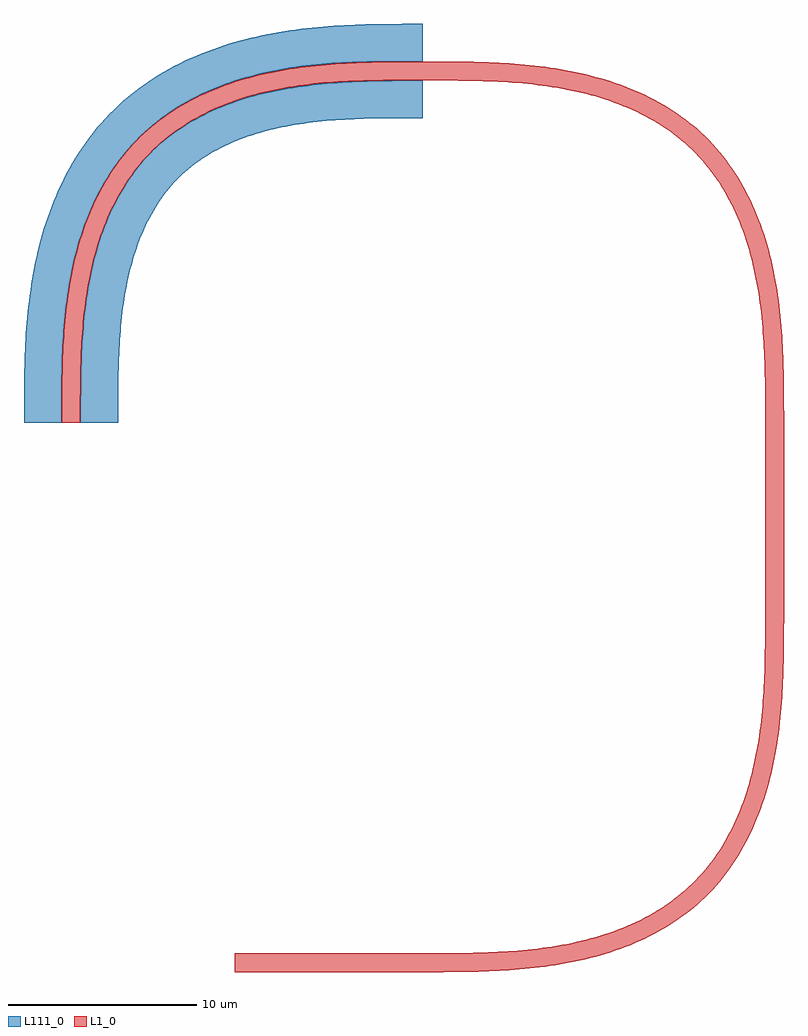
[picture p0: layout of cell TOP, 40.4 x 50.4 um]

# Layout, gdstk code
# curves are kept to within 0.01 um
from math import pi, radians
import gdstk
lib = gdstk.Library(unit=1e-6, precision=1e-09)
def R(c, l, rs):  # rectangles x0, y0, x1, y1
    for r in rs: c.add(gdstk.rectangle(r[:2], r[2:], *l))
def P(c, l, *ps):  # polygons
    for p in ps: c.add(gdstk.Polygon(p, *l))
L1_0 = (1, 0)
L111_0 = (111, 0)

doe1_convert_base_conver = lib.new_cell('DOE1_CONVERT.BASE_CONVERT.straight_W1000_L10000_LWG_ENone')
R(doe1_convert_base_conver, L1_0, [(0,-0.5,10,0.5)])

doe1_convert_bend_euler_ = lib.new_cell('DOE1_CONVERT.bend_euler_W1_R10_LWG_ENone_A90_R150')
P(doe1_convert_bend_euler_, L1_0, [(0,-0.5),(0,0.5),(1.607,0.504),(3.205,0.535),(4.53,0.6),(5.845,0.715),(6.887,0.854),(7.918,1.042),(8.682,1.219),(9.683,1.509),(10.417,1.769),(11.134,2.068),(11.601,2.29),(12.281,2.658),(12.933,3.07),(13.35,3.368),(13.947,3.852),(14.322,4.199),(14.849,4.754),(15.176,5.148),(15.484,5.557),(15.91,6.2),(16.17,6.644),(16.524,7.332),(16.837,8.043),(17.11,8.772),(17.415,9.767),(17.659,10.782),(17.847,11.814),(17.986,12.856),(18.101,14.171),(18.166,15.496),(18.197,17.094),(18.201,18.701),(19.201,18.701),(19.194,16.816),(19.165,15.463),(19.116,14.377),(19.035,13.289),(18.913,12.202),(18.79,11.388),(18.579,10.308),(18.38,9.504),(18.143,8.709),(17.866,7.925),(17.544,7.155),(17.177,6.404),(16.762,5.676),(16.298,4.976),(15.784,4.309),(15.219,3.681),(14.606,3.1),(13.951,2.569),(13.262,2.088),(12.542,1.657),(11.798,1.274),(11.034,0.937),(10.255,0.646),(9.197,0.321),(8.393,0.122),(7.313,-0.09),(6.227,-0.247),(5.412,-0.334),(4.324,-0.415),(3.238,-0.464),(1.885,-0.493)])

doe1_convert_doe1 = lib.new_cell('DOE1_CONVERT.DOE1')
doe1_convert_doe1.add(gdstk.Reference(doe1_convert_base_conver, (0,0)))
doe1_convert_doe1.add(gdstk.Reference(doe1_convert_bend_euler_, (10,0)))

doe2_convert_base_conver = lib.new_cell('DOE2_CONVERT.BASE_CONVERT.straight_W1000_L10000_LWG_ENone')
R(doe2_convert_base_conver, L1_0, [(0,-0.5,10,0.5)])

doe2_convert_bend_euler_ = lib.new_cell('DOE2_CONVERT.bend_euler_W1_R10_LWG_ENone_A90_R150')
P(doe2_convert_bend_euler_, L1_0, [(0,-0.5),(0,0.5),(1.607,0.504),(3.205,0.535),(4.53,0.6),(5.845,0.715),(6.887,0.854),(7.918,1.042),(8.682,1.219),(9.683,1.509),(10.417,1.769),(11.134,2.068),(11.601,2.29),(12.281,2.658),(12.933,3.07),(13.35,3.368),(13.947,3.852),(14.322,4.199),(14.849,4.754),(15.176,5.148),(15.484,5.557),(15.91,6.2),(16.17,6.644),(16.524,7.332),(16.837,8.043),(17.11,8.772),(17.415,9.767),(17.659,10.782),(17.847,11.814),(17.986,12.856),(18.101,14.171),(18.166,15.496),(18.197,17.094),(18.201,18.701),(19.201,18.701),(19.194,16.816),(19.165,15.463),(19.116,14.377),(19.035,13.289),(18.913,12.202),(18.79,11.388),(18.579,10.308),(18.38,9.504),(18.143,8.709),(17.866,7.925),(17.544,7.155),(17.177,6.404),(16.762,5.676),(16.298,4.976),(15.784,4.309),(15.219,3.681),(14.606,3.1),(13.951,2.569),(13.262,2.088),(12.542,1.657),(11.798,1.274),(11.034,0.937),(10.255,0.646),(9.197,0.321),(8.393,0.122),(7.313,-0.09),(6.227,-0.247),(5.412,-0.334),(4.324,-0.415),(3.238,-0.464),(1.885,-0.493)])

c_doe2_convert_bend_euler_ = lib.new_cell('DOE2_CONVERT.bend_euler_W1_R10_LWG_Eenc2_A90_R150')
P(c_doe2_convert_bend_euler_, L1_0, [(0,-0.5),(0,0.5),(1.607,0.504),(3.205,0.535),(4.53,0.6),(5.845,0.715),(6.887,0.854),(7.918,1.042),(8.682,1.219),(9.683,1.509),(10.417,1.769),(11.134,2.068),(11.601,2.29),(12.281,2.658),(12.933,3.07),(13.35,3.368),(13.947,3.852),(14.322,4.199),(14.849,4.754),(15.176,5.148),(15.484,5.557),(15.91,6.2),(16.17,6.644),(16.524,7.332),(16.837,8.043),(17.11,8.772),(17.415,9.767),(17.659,10.782),(17.847,11.814),(17.986,12.856),(18.101,14.171),(18.166,15.496),(18.197,17.094),(18.201,18.701),(19.201,18.701),(19.194,16.816),(19.165,15.463),(19.116,14.377),(19.035,13.289),(18.913,12.202),(18.79,11.388),(18.579,10.308),(18.38,9.504),(18.143,8.709),(17.866,7.925),(17.544,7.155),(17.177,6.404),(16.762,5.676),(16.298,4.976),(15.784,4.309),(15.219,3.681),(14.606,3.1),(13.951,2.569),(13.262,2.088),(12.542,1.657),(11.798,1.274),(11.034,0.937),(10.255,0.646),(9.197,0.321),(8.393,0.122),(7.313,-0.09),(6.227,-0.247),(5.412,-0.334),(4.324,-0.415),(3.238,-0.464),(1.885,-0.493)])
P(c_doe2_convert_bend_euler_, L111_0, [(0,0.5),(0,2.5),(1.59,2.504),(2.884,2.526),(3.897,2.566),(4.645,2.613),(5.623,2.703),(6.341,2.795),(7.046,2.909),(7.963,3.102),(8.848,3.342),(9.49,3.557),(10.109,3.802),(10.704,4.078),(11.272,4.385),(11.981,4.844),(12.472,5.223),(12.927,5.631),(13.345,6.073),(13.734,6.552),(13.977,6.892),(14.206,7.247),(14.524,7.805),(14.81,8.391),(15.066,9.002),(15.29,9.636),(15.544,10.514),(15.748,11.423),(15.871,12.123),(15.97,12.837),(16.069,13.81),(16.135,14.804),(16.175,15.817),(16.197,17.111),(16.201,18.701),(18.201,18.701),(18.197,17.094),(18.174,15.761),(18.132,14.7),(18.062,13.644),(17.986,12.856),(17.847,11.814),(17.659,10.782),(17.482,10.019),(17.271,9.266),(16.932,8.284),(16.633,7.567),(16.293,6.871),(15.91,6.2),(15.484,5.557),(15.015,4.949),(14.502,4.379),(13.947,3.852),(13.35,3.368),(12.719,2.928),(12.057,2.531),(11.368,2.177),(10.658,1.864),(9.929,1.591),(8.934,1.286),(7.918,1.042),(7.146,0.897),(6.367,0.779),(5.32,0.662),(4.265,0.583),(3.205,0.535),(1.607,0.504)],
  [(0,-2.5),(0,-0.5),(1.885,-0.493),(3.238,-0.464),(4.324,-0.415),(5.412,-0.334),(6.227,-0.247),(7.313,-0.09),(8.393,0.122),(9.197,0.321),(9.992,0.558),(10.776,0.835),(11.546,1.157),(12.297,1.524),(13.025,1.939),(13.725,2.403),(14.392,2.917),(15.02,3.482),(15.601,4.095),(16.132,4.749),(16.613,5.439),(17.044,6.159),(17.427,6.903),(17.763,7.667),(18.055,8.446),(18.38,9.504),(18.579,10.308),(18.79,11.388),(18.913,12.202),(19.035,13.289),(19.116,14.377),(19.165,15.463),(19.194,16.816),(19.201,18.701),(21.201,18.701),(21.194,16.793),(21.173,15.678),(21.113,14.259),(21.026,13.106),(20.896,11.938),(20.763,11.055),(20.531,9.87),(20.31,8.98),(20.139,8.387),(19.947,7.795),(19.616,6.914),(19.233,6.043),(18.793,5.187),(18.293,4.354),(17.731,3.547),(17.321,3.029),(16.652,2.286),(16.172,1.819),(15.415,1.172),(14.62,0.589),(13.794,0.068),(12.945,-0.392),(12.079,-0.794),(11.494,-1.031),(10.906,-1.246),(10.018,-1.526),(9.127,-1.761),(7.942,-2.01),(7.057,-2.154),(5.886,-2.297),(4.729,-2.394),(3.305,-2.463),(1.908,-2.493)])

doe2_convert_doe2 = lib.new_cell('DOE2_CONVERT.DOE2')
doe2_convert_doe2.add(gdstk.Reference(doe2_convert_base_conver, (0,0)))
doe2_convert_doe2.add(gdstk.Reference(doe2_convert_bend_euler_, (10,0)))
doe2_convert_doe2.add(gdstk.Reference(c_doe2_convert_bend_euler_, (28.701,18.701), rotation=pi/2))

top = lib.new_cell('TOP')
top.add(gdstk.Reference(doe1_convert_doe1, (0,0)))
top.add(gdstk.Reference(doe2_convert_doe2, (28.701,18.701), rotation=pi/2))

lib.write_gds('TOP.gds')
